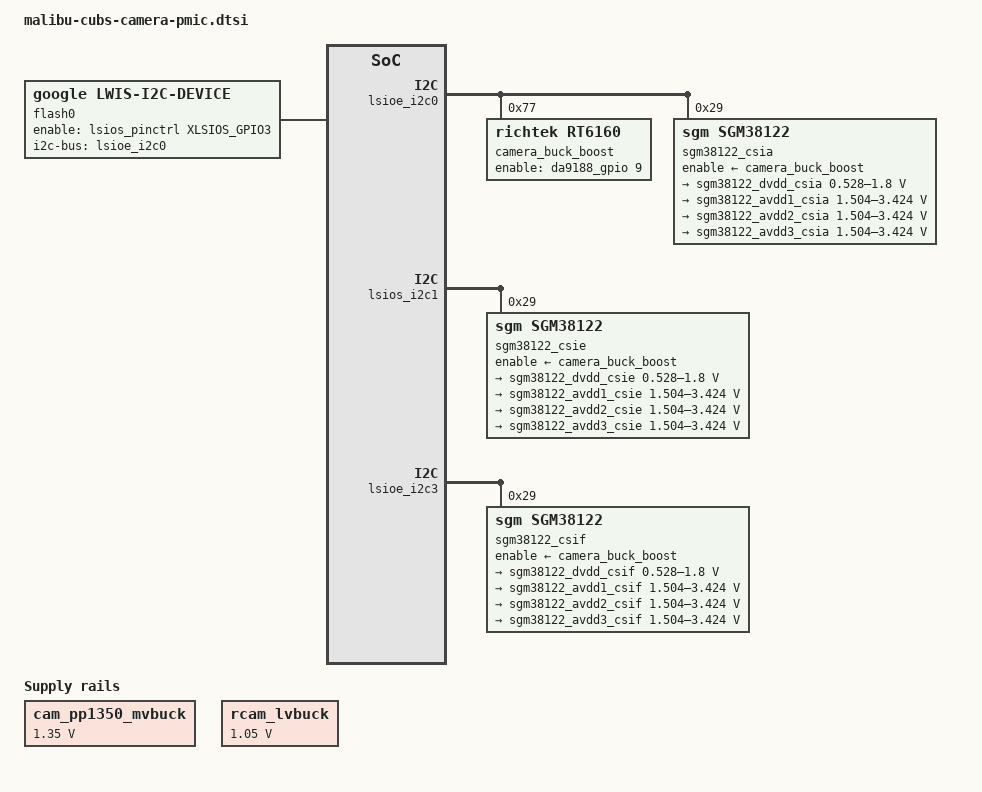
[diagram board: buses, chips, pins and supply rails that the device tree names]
// SPDX-License-Identifier: GPL-2.0-only
/*
 * camera PMIC device tree for MBU device
 *
 * Copyright 2025 Google LLC.
 *
 */

/ {
	fragment@rcam_supply {
		target-path = "/";
		__overlay__ {
			/* SN62088AYFPR */
			cam_pp1350_mvbuck: cam_supply@0 {
				compatible = "regulator-fixed";
				status = "okay";
				regulator-name = "PP1350_CAM";
				regulator-min-microvolt = <1350000>;
				regulator-max-microvolt = <1350000>;
				/* 1.25ms */
				regulator-enable-ramp-delay = <1250>;
				enable-active-high;
				/* MVBUCK_EN */
				gpio = <PMICS2CAM_MVBUCK_EN(GPIO_ACTIVE_HIGH)>;
			};

			/* SN62088AYFPR */
			rcam_lvbuck: rcam_supply@0 {
				compatible = "regulator-fixed";
				status = "okay";
				regulator-name = "RCAM_VDIG";
				regulator-min-microvolt = <1050000>;
				regulator-max-microvolt = <1050000>;
				/* 1.25ms */
				regulator-enable-ramp-delay = <1250>;
				enable-active-high;
				/* VDIG_EN */
				gpio = <PMICM2RCAM_VDIG_EN(GPIO_ACTIVE_HIGH)>;
			};
		};
	};
};

&lsioe_i2c0 {
	#address-cells = <1>;
	#size-cells = <0>;
	camera_buck_boost: rt6166@77 {
		compatible = "richtek,rt6160";
		reg = <0x77>;
		/* PMICS2CAM_BBPMIC_E */
		enable-gpios = <&da9188_gpio 9 GPIO_ACTIVE_HIGH>;
		status = "ok";
		regulator-name = "rt6166-regulator";
		regulator-min-microvolt = <3200000>;
		regulator-max-microvolt = <3200000>;
		regulator-always-on;
		/* 2ms */
		regulator-enable-ramp-delay = <2000>;
		/* RT6160_MODE_AUTO */
		regulator-initial-mode = <0x0>;
		/* Allow for NORMAL (auto) and FAST (FPWM) mode */
		regulator-allowed-modes = <0x0>, <0x1>;
	};

	sgm38122_csia: sgm38122@29 {
		compatible = "sgm,sgm38122";
		reg = <0x29>;
		enable-supply = <&camera_buck_boost>;
		status = "ok";

		regulators {
			sgm38122_dvdd_csia: dvdd {
				regulator-name = "dvdd";
				regulator-min-microvolt = <528000>;
				regulator-max-microvolt = <1800000>;
				in1-supply = <&cam_pp1350_mvbuck>;
			};

			sgm38122_avdd1_csia: avdd1 {
				regulator-name = "avdd1";
				regulator-min-microvolt = <1504000>;
				regulator-max-microvolt = <3424000>;
				in2-supply = <&camera_buck_boost>;
			};

			sgm38122_avdd2_csia: avdd2 {
				regulator-name = "avdd2";
				regulator-min-microvolt = <1504000>;
				regulator-max-microvolt = <3424000>;
				in2-supply = <&camera_buck_boost>;
			};

			sgm38122_avdd3_csia: avdd3 {
				regulator-name = "avdd3";
				regulator-min-microvolt = <1504000>;
				regulator-max-microvolt = <3424000>;
				in3-supply = <&camera_buck_boost>;
			};
		};
	};
};

/ {
	fragment@lwiscamera {
		target-path = "/";
		__overlay__ {
			flash0: flash@0 {
				compatible = "google,lwis-i2c-device";

				/* Device node name */
				node-name = "flash-lm3644";

				/* I2C */
				i2c-bus = <&lsioe_i2c0>;
				i2c-addr = <0x63>;

				/* Registers */
				reg-addr-bitwidth = <8>;
				reg-value-bitwidth = <8>;

				/* GPIOs */
				/* AP2FLASH_EN */
				enable-gpios = <&lsios_pinctrl XLSIOS_GPIO3 GPIO_ACTIVE_HIGH>;

				power-up-seqs = "enable";
				power-up-seq-types = "gpio";
				power-up-seq-delays-us = <0>;

				power-down-seqs = "enable";
				power-down-seq-types = "gpio";
				power-down-seq-delays-us = <0>;
			};
		};
	};
};

&lsios_i2c1 {
	#address-cells = <1>;
	#size-cells = <0>;

	sgm38122_csie: sgm38122@29 {
		compatible = "sgm,sgm38122";
		reg = <0x29>;
		enable-supply = <&camera_buck_boost>;
		status = "ok";

		regulators {
			sgm38122_dvdd_csie: dvdd {
				regulator-name = "dvdd";
				regulator-min-microvolt = <528000>;
				regulator-max-microvolt = <1800000>;
				in1-supply = <&cam_pp1350_mvbuck>;
			};

			sgm38122_avdd1_csie: avdd1 {
				regulator-name = "avdd1";
				regulator-min-microvolt = <1504000>;
				regulator-max-microvolt = <3424000>;
				in2-supply = <&camera_buck_boost>;
			};

			sgm38122_avdd2_csie: avdd2 {
				regulator-name = "avdd2";
				regulator-min-microvolt = <1504000>;
				regulator-max-microvolt = <3424000>;
				in2-supply = <&camera_buck_boost>;
			};

			sgm38122_avdd3_csie: avdd3 {
				regulator-name = "avdd3";
				regulator-min-microvolt = <1504000>;
				regulator-max-microvolt = <3424000>;
			};
		};
	};
};

&lsioe_i2c3 {
	#address-cells = <1>;
	#size-cells = <0>;

	sgm38122_csif: sgm38122@29 {
		compatible = "sgm,sgm38122";
		reg = <0x29>;
		enable-supply = <&camera_buck_boost>;
		status = "ok";

		regulators {
			sgm38122_dvdd_csif: dvdd {
				regulator-name = "dvdd";
				regulator-min-microvolt = <528000>;
				regulator-max-microvolt = <1800000>;
				in1-supply = <&cam_pp1350_mvbuck>;
			};

			sgm38122_avdd1_csif: avdd1 {
				regulator-name = "avdd1";
				regulator-min-microvolt = <1504000>;
				regulator-max-microvolt = <3424000>;
				in2-supply = <&camera_buck_boost>;
			};

			sgm38122_avdd2_csif: avdd2 {
				regulator-name = "avdd2";
				regulator-min-microvolt = <1504000>;
				regulator-max-microvolt = <3424000>;
				in2-supply = <&camera_buck_boost>;
			};

			sgm38122_avdd3_csif: avdd3 {
				regulator-name = "avdd3";
				regulator-min-microvolt = <1504000>;
				regulator-max-microvolt = <3424000>;
				in3-supply = <&camera_buck_boost>;
			};
		};
	};
};
